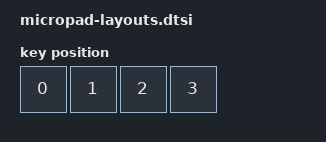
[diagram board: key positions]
#include <physical_layouts.dtsi>

/ {
    micropad_layout: micropad_layout {
        compatible = "zmk,physical-layout";
        display-name = "Default";

        transform = <&default_transform>;

        keys  //                     w   h    x    y     rot    rx    ry
            = <&key_physical_attrs 100 100    0   0       0     0     0>
            , <&key_physical_attrs 100 100  100   0       0     0     0>
            , <&key_physical_attrs 100 100  200   0       0     0     0>
            , <&key_physical_attrs 100 100  300   0       0     0     0>
            ;
    };
};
